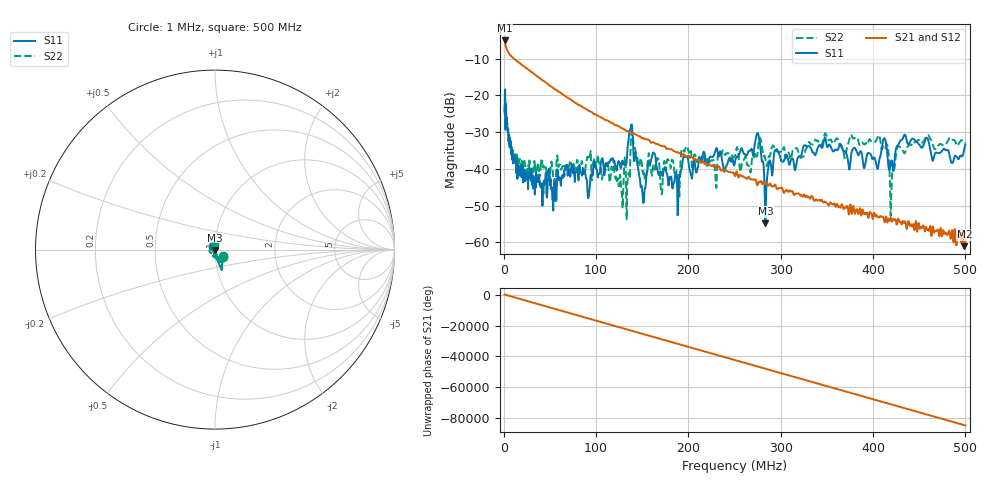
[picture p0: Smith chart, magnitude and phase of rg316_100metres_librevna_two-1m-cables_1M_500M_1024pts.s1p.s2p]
# GHZ S RI R 50.000000000000
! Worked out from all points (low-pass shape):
!   1024 points, 1 MHz to 500 MHz, reference 50 ohm
!   highest |S21| = -5.09 dB at 1 MHz (marker M1); lowest = -61.0 dB at 499 MHz (marker M2)
!   |S21| within 3 dB of the highest: start of sweep to 4.468 MHz
!   lowest |S11| = -54.8 dB at 283.4 MHz (marker M3), VSWR 1.00, Z = 50 - j0.181 ohm
!   |S11| at or under -10 dB: start of sweep to end of sweep
!   |S22| runs from -53.7 to -18.5 dB; largest |S21 - S12| = 0.0077
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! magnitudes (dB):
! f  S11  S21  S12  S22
! 1 MHz  -25.0  -5.1  -5.0  -24.5
! 17.1 MHz  -40.6  -11.2  -11.2  -37.5
! 54.66 MHz  -45.8  -18.2  -18.2  -45.1
! 84.41 MHz  -41.4  -23.0  -23.0  -38.0
! 91.73 MHz  -47.8  -24.2  -24.2  -36.9
! 126.8 MHz  -39.8  -28.8  -28.8  -43.8
! 134.7 MHz  -33.0  -29.7  -29.7  -41.9
! 137.6 MHz  -28.9  -30.2  -30.2  -32.8
! 150.3 MHz  -46.5  -31.6  -31.6  -40.4
! 161.5 MHz  -35.7  -32.7  -32.7  -39.7
! 167.8 MHz  -41.7  -33.4  -33.4  -37.3
! 250.7 MHz  -37.8  -42.0  -42.0  -36.3
! 275.1 MHz  -30.3  -44.3  -44.3  -35.3
! 283.4 MHz  -54.8  -44.2  -44.2  -37.4
! 295.1 MHz  -34.7  -45.0  -44.9  -35.2
! 334.2 MHz  -35.4  -47.5  -47.5  -33.4
! 405.4 MHz  -39.7  -53.0  -53.0  -31.1
! 412.2 MHz  -31.7  -54.4  -54.3  -34.5
! 417.1 MHz  -40.0  -53.6  -53.5  -36.8
! 433.7 MHz  -30.8  -54.8  -54.6  -35.8
! 499 MHz  -34.2  -61.0  -61.0  -32.6
! 500 MHz  -33.4  -59.3  -59.1  -33.1
